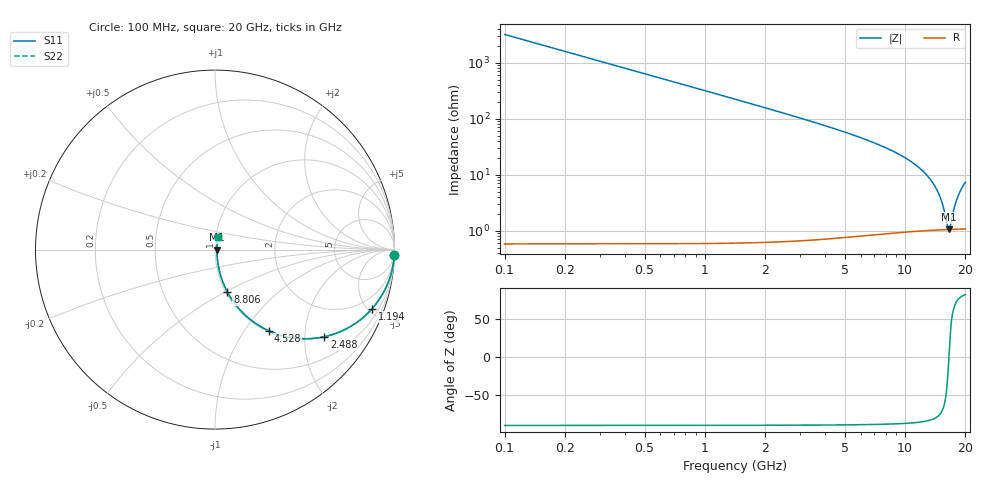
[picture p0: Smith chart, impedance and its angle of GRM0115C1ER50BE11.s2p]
!Murata Part Number: GRM0115C1ER50BE11
!These Parameters are Measured in Series Mode Connection
!Data Generated on Mar 30, 2021
!  o--ll--o
!Port1  Port2
!  o------o
!Operation Temp=25[degC], DC Bias Voltage=0[V]
!Freq. Start=100[MHz] Stop=20[GHz] 401[Steps]
# Hz S RI R 50
!Freq.(Hz) S11(Real) S11(Imag) S21(Real) S21(Imag) S12(Real) S12(Imag) S22(Real) S22(Imag)
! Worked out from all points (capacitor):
!   401 points, 100 MHz to 20 GHz, reference 50 ohm
!   read as one part in series: C = 500 fF near 199.5 MHz
!   lowest |Z| = 1.06 ohm at 16.52 GHz (marker M1)
!   series resonance near 16.54 GHz, so ESL is about 190 pH
!   S11 on the Smith chart (normalised r, x): 100 MHz: 1, -64; 1.194 GHz: 1.01, -5.30; 2.488 GHz: 1.01, -2.50; 4.528 GHz: 1.01, -1.30; 8.806 GHz: 1.02, -0.51; 20 GHz: 1.02, +0.15
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1e8  0.999 -0.0314  0.000992 0.0314  0.000992 0.0314  0.999 -0.0314
2.99e8  0.9912 -0.0931  0.0088 0.0931  0.0088 0.0931  0.9912 -0.0931
4.98e8  0.9759 -0.1528  0.0241 0.1528  0.0241 0.1528  0.9759 -0.1528
7.965e8  0.9405 -0.2358  0.0595 0.2358  0.0595 0.2358  0.9405 -0.2358
1.1945e9  0.8748 -0.3298  0.1252 0.3298  0.1252 0.3298  0.8748 -0.3298
1.74175e9  0.7646 -0.4225  0.2354 0.4225  0.2354 0.4225  0.7646 -0.4225
2.488e9  0.6089 -0.4855  0.3911 0.4855  0.3911 0.4855  0.6089 -0.4855
3.43325e9  0.44 -0.4925  0.56 0.4925  0.56 0.4925  0.44 -0.4925
4.52775e9  0.2981 -0.4518  0.7019 0.4518  0.7019 0.4518  0.2981 -0.4518
6.7665e9  0.1372 -0.3335  0.8628 0.3335  0.8628 0.3335  0.1372 -0.3335
8.80625e9  0.0696 -0.2373  0.9304 0.2373  0.9304 0.2373  0.0696 -0.2373
1.005e10  0.0462 -0.1874  0.9538 0.1874  0.9538 0.1874  0.0462 -0.1874
1.338325e10  0.0165 -0.0793  0.9835 0.0793  0.9835 0.0793  0.0165 -0.0793
1.5025e10  0.0116 -0.0359  0.9884 0.0359  0.9884 0.0359  0.0116 -0.0359
1.5622e10  0.0108 -0.0214  0.9892 0.0214  0.9892 0.0214  0.0108 -0.0214
1.63185e10  0.0104 -0.00507  0.9896 0.00507  0.9896 0.00507  0.0104 -0.00507
1.65175e10  0.0104 -0.000548  0.9896 0.000548  0.9896 0.000548  0.0104 -0.000548
1.67165e10  0.0105 0.00392  0.9895 -0.00392  0.9895 -0.00392  0.0105 0.00392
1.746275e10  0.0109 0.0202  0.9891 -0.0202  0.9891 -0.0202  0.0109 0.0202
1.81095e10  0.0117 0.0338  0.9883 -0.0338  0.9883 -0.0338  0.0117 0.0338
1.895525e10  0.0132 0.0508  0.9868 -0.0508  0.9868 -0.0508  0.0132 0.0508
2e10  0.0158 0.0709  0.9842 -0.0709  0.9842 -0.0709  0.0158 0.0709
